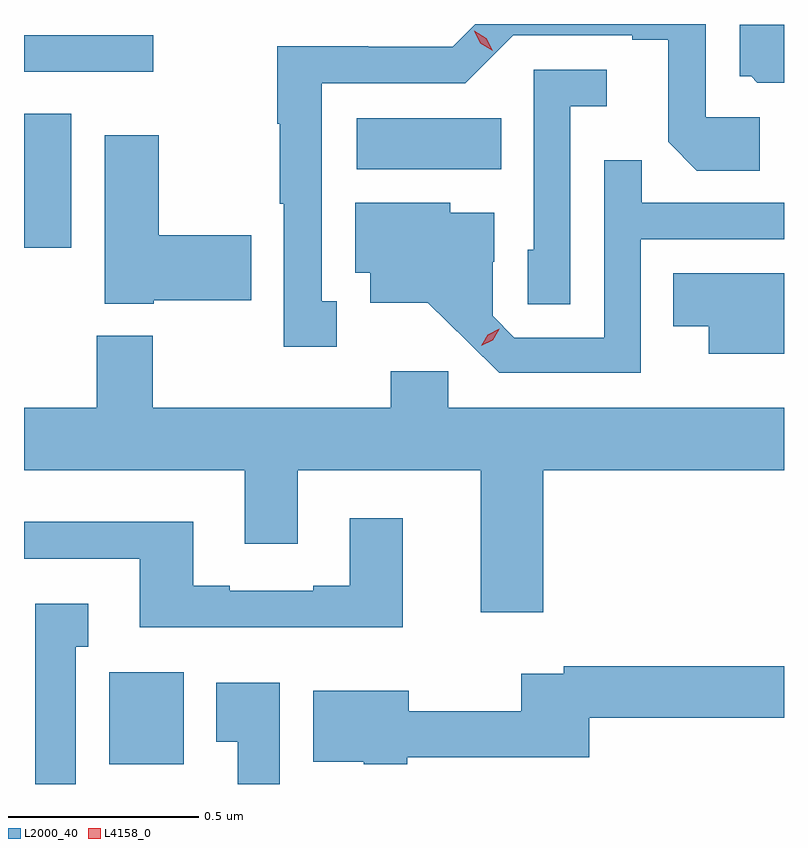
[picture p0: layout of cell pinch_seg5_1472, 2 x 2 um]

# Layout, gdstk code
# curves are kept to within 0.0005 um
import gdstk
lib = gdstk.Library(unit=1e-6, precision=1e-09)
def R(c, l, rs):  # rectangles x0, y0, x1, y1
    for r in rs: c.add(gdstk.rectangle(r[:2], r[2:], *l))
def P(c, l, *ps):  # polygons
    for p in ps: c.add(gdstk.Polygon(p, *l))
L2000_40 = (2000, 40)
L4158_0 = (4158, 0)

pinch_seg5_1472 = lib.new_cell('pinch_seg5_1472')
R(pinch_seg5_1472, L2000_40, [(128.066,910.598,128.263,910.84), (127.842,911.957,127.966,912.31), (128.718,912.164,129.098,912.298), (127.842,912.42,128.182,912.516)])
P(pinch_seg5_1472, L2000_40, [(128.665,911.817),(128.626,911.817),(128.626,912.39),(129.003,912.39),(129.129,912.516),(129.443,912.516),(129.443,912.504),(129.537,912.504),(129.537,912.236),(129.613,912.16),(129.778,912.16),(129.778,912.3),(129.636,912.3),(129.636,912.546),(129.03,912.546),(128.97,912.486),(128.748,912.486),(128.748,912.488),(128.508,912.488),(128.508,912.283),(128.515,912.283),(128.515,912.073),(128.525,912.073),(128.525,911.697),(128.665,911.697)],
  [(129.842,912.544),(129.725,912.544),(129.725,912.408),(129.756,912.408),(129.772,912.392),(129.842,912.392)],
  [(129.279,912.329),(129.376,912.329),(129.376,912.426),(129.183,912.426),(129.183,911.952),(129.168,911.952),(129.168,911.809),(129.279,911.809)],
  [(128.184,911.819),(128.44,911.819),(128.44,911.99),(128.196,911.99),(128.196,912.253),(128.054,912.253),(128.054,911.81),(128.184,911.81)],
  [(129.465,911.979),(129.842,911.979),(129.842,912.075),(129.467,912.075),(129.467,912.188),(129.369,912.188),(129.369,911.721),(129.132,911.721),(129.075,911.778),(129.075,911.92),(129.079,911.92),(129.079,912.049),(128.964,912.049),(128.964,912.076),(128.714,912.076),(128.714,911.892),(128.753,911.892),(128.753,911.813),(128.905,911.813),(129.092,911.628),(129.465,911.628)],
  [(129.842,911.89),(129.55,911.89),(129.55,911.75),(129.644,911.75),(129.644,911.678),(129.842,911.678)],
  [(129.208,911.372),(129.842,911.372),(129.842,911.536),(128.958,911.536),(128.958,911.632),(128.807,911.632),(128.807,911.536),(128.181,911.536),(128.181,911.725),(128.033,911.725),(128.033,911.536),(127.842,911.536),(127.842,911.372),(128.423,911.372),(128.423,911.178),(128.563,911.178),(128.563,911.372),(129.044,911.372),(129.044,910.998),(129.208,910.998)],
  [(128.839,911.245),(128.699,911.245),(128.699,911.068),(128.603,911.068),(128.603,911.055),(128.383,911.055),(128.383,911.068),(128.287,911.068),(128.287,911.236),(127.842,911.236),(127.842,911.139),(128.147,911.139),(128.147,910.958),(128.839,910.958)],
  [(127.978,910.907),(128.011,910.907),(128.011,911.02),(127.871,911.02),(127.871,910.546),(127.978,910.546)],
  [(128.85,910.616),(129.329,910.616),(129.329,910.72),(129.842,910.72),(129.842,910.856),(129.262,910.856),(129.262,910.836),(129.151,910.836),(129.151,910.738),(128.854,910.738),(128.854,910.792),(128.603,910.792),(128.603,910.604),(128.736,910.604),(128.736,910.598),(128.85,910.598)],
  [(128.515,910.813),(128.348,910.813),(128.348,910.657),(128.405,910.657),(128.405,910.546),(128.515,910.546)])
P(pinch_seg5_1472, L4158_0, [(129.075,912.475),(129.043,912.495),(129.027,912.528),(129.027,912.528),(129.027,912.528),(129.058,912.508),(129.075,912.475),(129.075,912.475)],
  [(129.045,911.699),(129.045,911.699),(129.062,911.728),(129.092,911.744),(129.093,911.744),(129.093,911.743),(129.076,911.714),(129.045,911.699)])

lib.write_gds('pinch_seg5_1472.gds')
